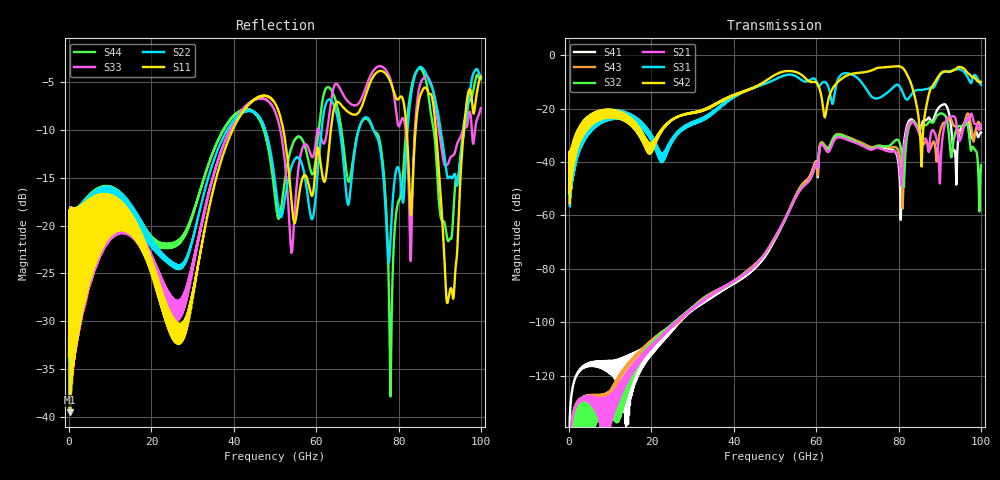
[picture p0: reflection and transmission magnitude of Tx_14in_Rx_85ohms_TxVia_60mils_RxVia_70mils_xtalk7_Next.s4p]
! Info: Touchstone file created by Circ.  Input file=Tx_14in_Rx_85ohms_TxVia_60mils_RxVia_70mils.circ
# Hz S RI R 50
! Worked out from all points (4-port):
!   10000 points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, 10 MHz to 100 GHz, reference 50 ohm
!   strongest paths, dB at 10 MHz, 25.01 GHz, 50.01 GHz, 75.01 GHz, 100 GHz:
!     S42: -51.6, -24.3, -7.4, -4.7, -10.0
!     S31: -51.7, -32.6, -9.1, -16.2, -11.1
!     S21: -167.3, -101.8, -68.1, -34.7, -26.0
!     S32: -170.5, -100.7, -68.2, -34.0, -41.3
!     S43: -154.7, -101.8, -68.4, -33.9, -27.5
!     S41: -150.5, -103.3, -68.9, -34.4, -29.0
!   lowest |S11| = -39.5 dB at 230 MHz (marker M1), VSWR 1.02, Z = 49.2 - j0.693 ohm
!   |S11| at or under -10 dB: start of sweep to 39.73 GHz; 52.03 GHz to 63.58 GHz (11.55 GHz wide, 20 % of centre); 89.07 GHz to 95.86 GHz (6.791 GHz wide, 7.34 % of centre) (the widest 3 of 4)
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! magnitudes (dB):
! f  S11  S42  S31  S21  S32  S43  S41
! 10 MHz  -33.6  -51.6  -51.7  -167.3  -170.5  -154.7  -150.5
! 230 MHz  -39.5  -43.4  -43.4  -144.4  -147.1  -144.0  -134.0
! 44.89 GHz  -6.9  -12.0  -12.1  -79.2  -79.2  -78.9  -80.1
! 65.19 GHz  -7.1  -10.2  -9.5  -30.8  -29.8  -29.5  -30.5
! 78.07 GHz  -5.0  -4.3  -13.0  -36.2  -33.6  -34.6  -35.2
! 85.57 GHz  -6.1  -41.6  -13.1  -31.8  -27.4  -31.1  -26.3
! 100 GHz  -4.4  -10.0  -11.1  -26.0  -41.3  -27.5  -29.0
